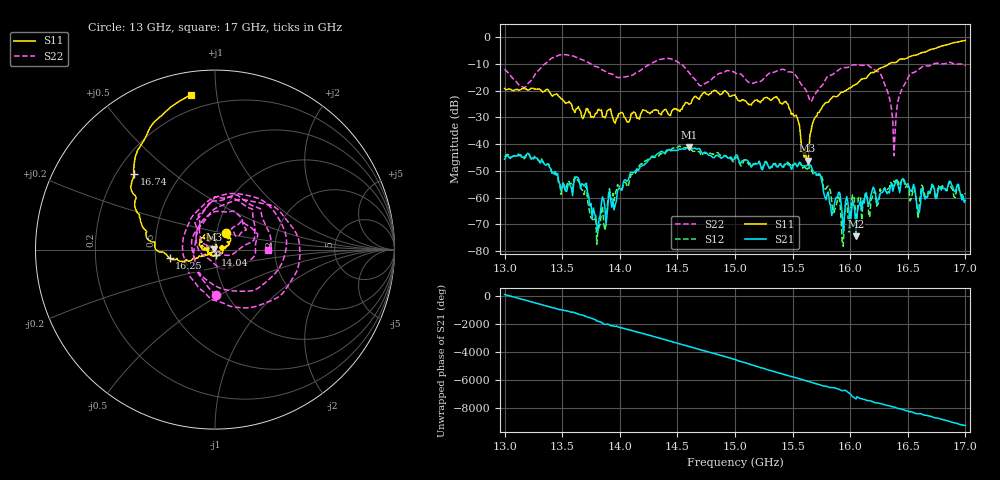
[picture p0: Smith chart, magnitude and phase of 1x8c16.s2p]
!Keysight Technologies,P9374A,MY57211807,A.19.30.04
!Date: Friday, May 08, 2026 15:09:07
!Correction: S11(C  2-Port  )
!S21(C  2-Port  )
!S12(C  2-Port  )
!S22(C  2-Port  )
!S2P File: Measurements: S11, S21, S12, S22:
# Hz S  dB  R 50
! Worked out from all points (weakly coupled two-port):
!   401 points, 13 GHz to 17 GHz, reference 50 ohm
!   highest |S21| = -41.13 dB at 14.6 GHz (marker M1); lowest = -74.4 dB at 16.05 GHz (marker M2)
!   lowest |S11| = -46.2 dB at 15.63 GHz (marker M3), VSWR 1.01, Z = 49.5 + j0.162 ohm
!   |S11| at or under -10 dB: start of sweep to 16.34 GHz
!   |S22| runs from -44.3 to -6.5 dB; largest |S21 - S12| = 0.0014
!   S11 on the Smith chart (normalised r, x): 13 GHz: 1.12, +0.20; 14.04 GHz: 1.00, -0.06; 16.25 GHz: 0.59, -0.06; 16.74 GHz: 0.27, +0.37; 17 GHz: 0.12, +0.85
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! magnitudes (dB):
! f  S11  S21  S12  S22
! 13 GHz  -19.2  -45.6  -44.8  -11.9
! 13.17 GHz  -18.8  -44.7  -45.4  -18.8
! 13.42 GHz  -21.9  -50.4  -50.6  -7.6
! 13.67 GHz  -29.8  -54.8  -57.0  -8.4
! 13.81 GHz  -27.2  -72.6  -72.2  -11.1
! 14.04 GHz  -30.0  -53.5  -54.4  -14.8
! 14.34 GHz  -28.4  -43.3  -44.2  -8.4
! 14.6 GHz  -25.1  -41.1  -41.2  -13.1
! 15 GHz  -21.6  -44.8  -45.4  -13.2
! 15.44 GHz  -24.0  -47.5  -46.9  -12.5
! 15.63 GHz  -46.2  -47.5  -48.9  -21.2
! 15.67 GHz  -32.7  -49.4  -50.3  -23.5
! 15.9 GHz  -21.7  -57.9  -59.8  -12.2
! 15.93 GHz  -20.5  -66.1  -76.2  -11.4
! 16.05 GHz  -17.6  -74.4  -68.3  -10.3
! 16.25 GHz  -11.8  -60.1  -61.1  -13.1
! 16.34 GHz  -9.9  -58.2  -56.4  -22.6
! 16.38 GHz  -9.5  -55.8  -53.8  -44.3
! 16.51 GHz  -7.3  -56.0  -57.0  -14.5
! 16.59 GHz  -6.4  -64.9  -67.8  -12.1
! 16.74 GHz  -4.2  -60.3  -60.5  -9.7
! 17 GHz  -1.2  -61.0  -58.4  -10.6
